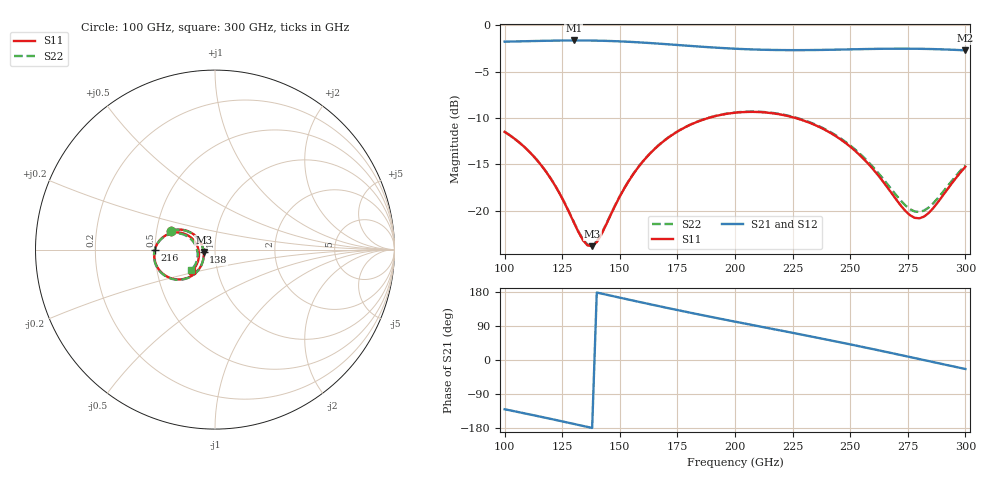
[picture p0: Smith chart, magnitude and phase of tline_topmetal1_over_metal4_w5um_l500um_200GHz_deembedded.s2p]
! Created with skrf 2.2.0 (http://scikit-rf.org).
# GHz S DB R 50.0
! Port[1] = P1
! Port[2] = P2
!freq dBS11 angS11 dBS21 angS21 dBS12 angS12 dBS22 angS22
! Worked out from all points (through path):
!   101 points, 100 GHz to 300 GHz, reference 50 ohm
!   highest |S21| = -1.64 dB at 130 GHz (marker M1); lowest = -2.7 dB at 300 GHz (marker M2)
!   group delay of S21, straight-line fit = 3.49 ps
!   lowest |S11| = -23.8 dB at 138 GHz (marker M3), VSWR 1.14, Z = 44 - j1.16 ohm
!   |S11| at or under -10 dB: start of sweep to 188.4 GHz; 226.3 GHz to end of sweep
!   |S22| runs from -23.7 to -9.3 dB; largest |S21 - S12| = 9.6e-14
!   S11 on the Smith chart (normalised r, x): 100 GHz: 0.60, +0.13; 138 GHz: 0.88, -0.02; 216 GHz: 0.50, -0.00; 300 GHz: 0.76, -0.18
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100  -11.49 156.9  -1.77 -130.0  -1.77 -130.0  -11.48 157.2
108  -12.99 150.1  -1.73 -140.0  -1.73 -140.0  -12.98 150.5
116  -15.13 145.3  -1.69 -150.2  -1.69 -150.2  -15.11 145.8
122  -17.32 144.7  -1.66 -158.0  -1.66 -158.0  -17.30 145.1
130  -21.23 154.3  -1.64 -168.6  -1.64 -168.6  -21.17 154.9
134  -23.16 169.2  -1.64 -174.0  -1.64 -174.0  -23.09 169.7
138  -23.81 -168.2  -1.65 -179.3  -1.65 -179.3  -23.72 -168.0
142  -22.55 -147.8  -1.67 175.3  -1.67 175.3  -22.48 -147.6
150  -18.46 -130.7  -1.74 164.5  -1.74 164.5  -18.42 -130.6
156  -15.99 -129.4  -1.81 156.5  -1.81 156.5  -15.97 -129.2
168  -12.70 -135.8  -2.00 140.8  -2.00 140.8  -12.68 -135.4
184  -10.37 -149.7  -2.29 120.6  -2.29 120.6  -10.35 -149.2
200  -9.43 -164.6  -2.53 101.3  -2.53 101.3  -9.40 -164.0
216  -9.48 -179.3  -2.66 82.3  -2.66 82.3  -9.44 -178.5
234  -10.68 165.3  -2.67 60.9  -2.67 60.9  -10.61 166.4
252  -13.51 153.7  -2.59 38.7  -2.59 38.7  -13.36 155.4
260  -15.54 152.4  -2.55 28.6  -2.55 28.6  -15.31 154.4
268  -18.11 157.5  -2.53 18.2  -2.53 18.2  -17.71 159.6
276  -20.48 175.5  -2.53 7.7  -2.53 7.7  -19.83 176.4
282  -20.63 -163.6  -2.55 -0.1  -2.55 -0.1  -19.98 -164.8
290  -18.43 -143.9  -2.60 -10.7  -2.60 -10.7  -18.05 -146.2
300  -15.25 -137.4  -2.71 -23.7  -2.71 -23.7  -15.08 -139.4
